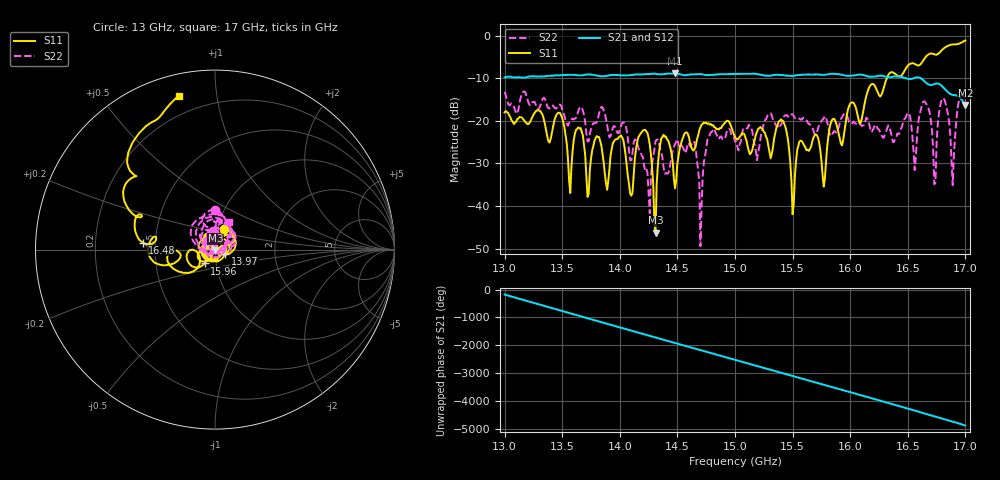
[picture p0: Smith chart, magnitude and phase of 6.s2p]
!Keysight Technologies,P9374A,MY57211807,A.19.30.04
!Date: Friday, May 01, 2026 14:47:28
!Correction: S11(C  2-Port  )
!S21(C  2-Port  )
!S12(C  2-Port  )
!S22(C  2-Port  )
!S2P File: Measurements: S11, S21, S12, S22:
# Hz S  RI  R 50
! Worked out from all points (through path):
!   401 points, 13 GHz to 17 GHz, reference 50 ohm
!   highest |S21| = -8.86 dB at 14.48 GHz (marker M1); lowest = -16.3 dB at 17 GHz (marker M2)
!   lowest |S11| = -46.3 dB at 14.31 GHz (marker M3), VSWR 1.01, Z = 50.2 - j0.437 ohm
!   |S11| at or under -10 dB: start of sweep to 16.32 GHz
!   |S22| runs from -49.4 to -13.1 dB; largest |S21 - S12| = 0.01
!   S11 on the Smith chart (normalised r, x): 13 GHz: 1.07, +0.25; 13.97 GHz: 1.12, -0.05; 15.96 GHz: 0.88, -0.14; 16.48 GHz: 0.42, +0.04; 17 GHz: 0.10, +0.79
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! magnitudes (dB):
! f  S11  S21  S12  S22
! 13 GHz  -18.0  -9.8  -9.8  -13.2
! 13.67 GHz  -22.6  -9.3  -9.3  -16.9
! 13.73 GHz  -37.3  -9.1  -9.1  -24.8
! 13.97 GHz  -24.3  -9.2  -9.2  -22.2
! 14.1 GHz  -37.6  -9.2  -9.2  -29.3
! 14.23 GHz  -22.4  -9.0  -9.0  -31.2
! 14.31 GHz  -46.3  -8.9  -8.9  -24.8
! 14.34 GHz  -27.4  -9.1  -9.0  -25.2
! 14.48 GHz  -35.9  -8.9  -8.8  -25.4
! 14.7 GHz  -21.6  -9.0  -9.0  -49.4
! 14.79 GHz  -20.7  -9.2  -9.2  -22.7
! 15 GHz  -23.7  -9.0  -9.0  -24.9
! 15.41 GHz  -20.0  -9.2  -9.2  -20.3
! 15.5 GHz  -41.9  -9.4  -9.4  -18.5
! 15.67 GHz  -24.9  -9.1  -9.1  -21.5
! 15.96 GHz  -20.4  -9.4  -9.4  -18.5
! 16.34 GHz  -8.9  -9.7  -9.7  -21.5
! 16.48 GHz  -7.8  -10.0  -9.9  -19.3
! 16.73 GHz  -4.4  -11.4  -11.3  -34.9
! 16.81 GHz  -3.0  -12.2  -12.2  -14.7
! 16.89 GHz  -2.0  -13.9  -13.9  -35.1
! 17 GHz  -1.1  -16.3  -16.3  -15.4
